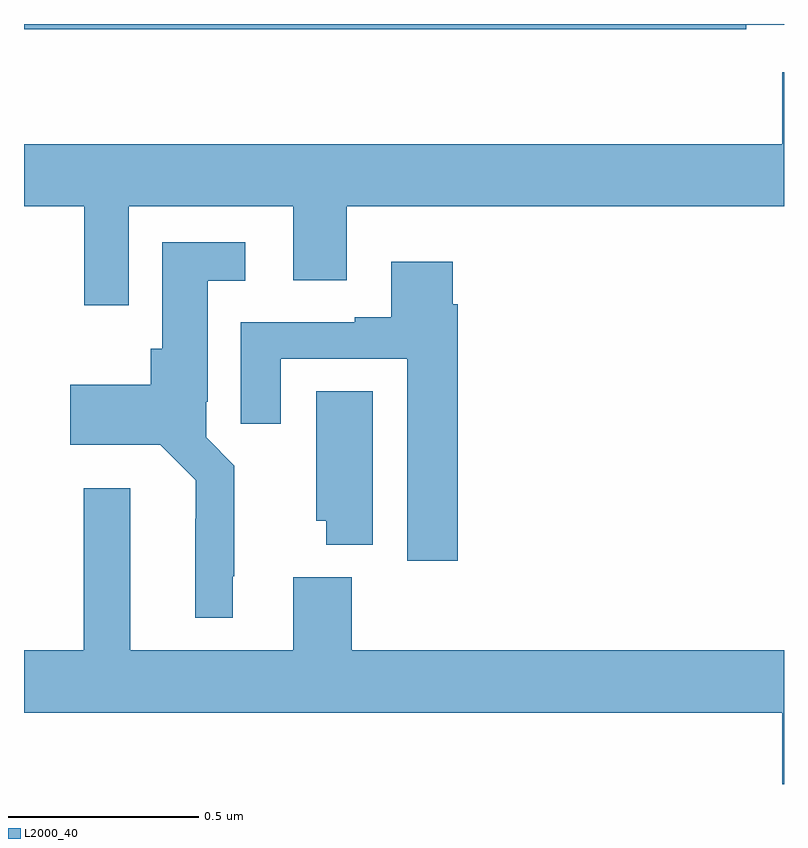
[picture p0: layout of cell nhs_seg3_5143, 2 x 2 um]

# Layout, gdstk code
import gdstk
lib = gdstk.Library(unit=1e-6, precision=1e-09)
def P(c, l, *ps):  # polygons
    for p in ps: c.add(gdstk.Polygon(p, *l))
L2000_40 = (2000, 40)

nhs_seg3_5143 = lib.new_cell('nhs_seg3_5143')
P(nhs_seg3_5143, L2000_40, [(176.9,697.398),(177,697.398),(177,697.4),(175,697.4),(175,697.386),(176.9,697.386)],
  [(175.275,696.92),(175.709,696.92),(175.709,696.726),(175.849,696.726),(175.849,696.92),(177,696.92),(177,697.273),(176.996,697.273),(176.996,697.084),(175,697.084),(175,696.92),(175.159,696.92),(175.159,696.66),(175.275,696.66)],
  [(175.549,695.947),(175.553,695.947),(175.553,696.238),(175.479,696.312),(175.479,696.406),(175.483,696.406),(175.483,696.725),(175.582,696.725),(175.582,696.826),(175.364,696.826),(175.364,696.546),(175.334,696.546),(175.334,696.451),(175.122,696.451),(175.122,696.293),(175.359,696.293),(175.452,696.2),(175.452,696.098),(175.451,696.098),(175.451,695.837),(175.549,695.837)],
  [(176.141,696.662),(176.128,696.662),(176.128,696.775),(175.967,696.775),(175.967,696.628),(175.871,696.628),(175.871,696.615),(175.571,696.615),(175.571,696.348),(175.675,696.348),(175.675,696.519),(176.009,696.519),(176.009,695.988),(176.141,695.988)],
  [(175.918,696.434),(175.769,696.434),(175.769,696.093),(175.796,696.093),(175.796,696.029),(175.918,696.029)],
  [(177,695.752),(175.862,695.752),(175.862,695.944),(175.709,695.944),(175.709,695.752),(175.279,695.752),(175.279,696.178),(175.157,696.178),(175.157,695.752),(175,695.752),(175,695.588),(176.996,695.588),(176.996,695.4),(177,695.4)])

lib.write_gds('nhs_seg3_5143.gds')
